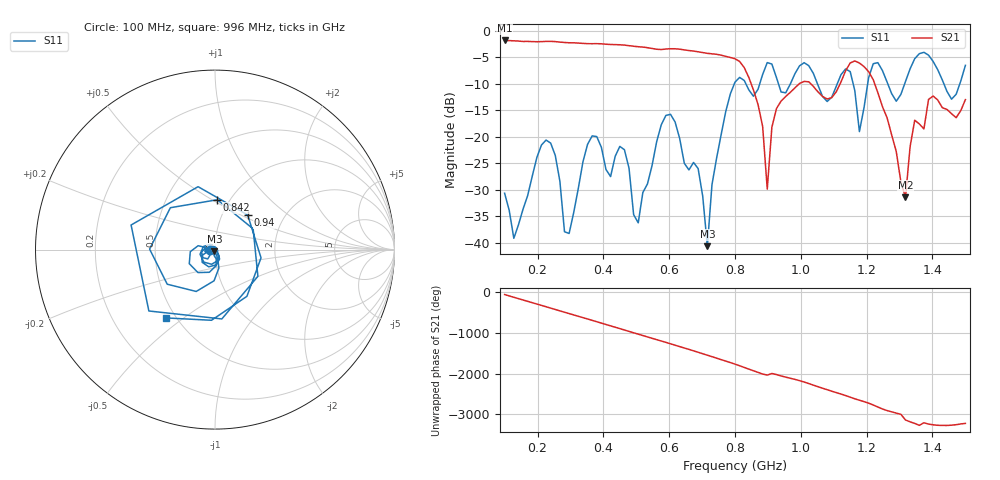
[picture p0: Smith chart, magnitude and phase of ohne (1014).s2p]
! NanoVNA-App
! Date: 2025-09-25 14:28:41
! Start: 100MHz Stop: 1,5GHz Points: 101
! S-Parameter data: F S11 S21 S12 S22
# Hz S RI R 50
!  Frequency  S11_Real  S11_Imag  S21_Real  S21_Imag  S12_Real  S12_Imag  S22_Real  S22_Imag
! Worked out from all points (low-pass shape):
!   101 points, 100 MHz to 1.5 GHz, reference 50 ohm
!   highest |S21| = -1.79 dB at 100 MHz (marker M1); lowest = -31.4 dB at 1.318 GHz (marker M2)
!   |S21| within 3 dB of the highest: start of sweep to 771.5 MHz
!   lowest |S11| = -40.6 dB at 716 MHz (marker M3), VSWR 1.02, Z = 49.7 - j0.88 ohm
!   |S11| at or under -10 dB: start of sweep to 797.8 MHz; 833.2 MHz to 875.1 MHz (41.89 MHz wide, 4.9 % of centre); 1.051 GHz to 1.111 GHz (59.93 MHz wide, 5.55 % of centre) (the widest 3 of 7)
!   S12 and S22 are empty: the file has one direction only
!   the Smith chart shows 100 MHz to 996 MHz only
!   S11 on the Smith chart (normalised r, x): 100 MHz: 0.94, -0.01; 842 MHz: 0.88, +0.53; 940 MHz: 1.32, +0.55; 996 MHz: 0.44, -0.43
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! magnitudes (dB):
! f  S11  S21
! 100 MHz  -30.6  -1.8
! 128 MHz  -39.1  -1.9
! 226 MHz  -20.6  -2.0
! 296 MHz  -38.2  -2.2
! 338 MHz  -24.7  -2.3
! 464 MHz  -22.4  -2.7
! 506 MHz  -36.2  -3.0
! 576 MHz  -17.7  -3.5
! 688 MHz  -26.0  -3.9
! 716 MHz  -40.6  -4.2
! 800 MHz  -9.7  -5.2
! 842 MHz  -11.1  -8.8
! 898 MHz  -6.0  -29.9
! 940 MHz  -11.5  -13.2
! 996 MHz  -6.6  -9.9
! 1.038 GHz  -8.0  -10.5
! 1.178 GHz  -19.0  -6.1
! 1.22 GHz  -6.2  -9.2
! 1.276 GHz  -11.8  -19.6
! 1.318 GHz  -9.5  -31.4
! 1.346 GHz  -5.2  -16.9
! 1.5 GHz  -6.5  -13.0
